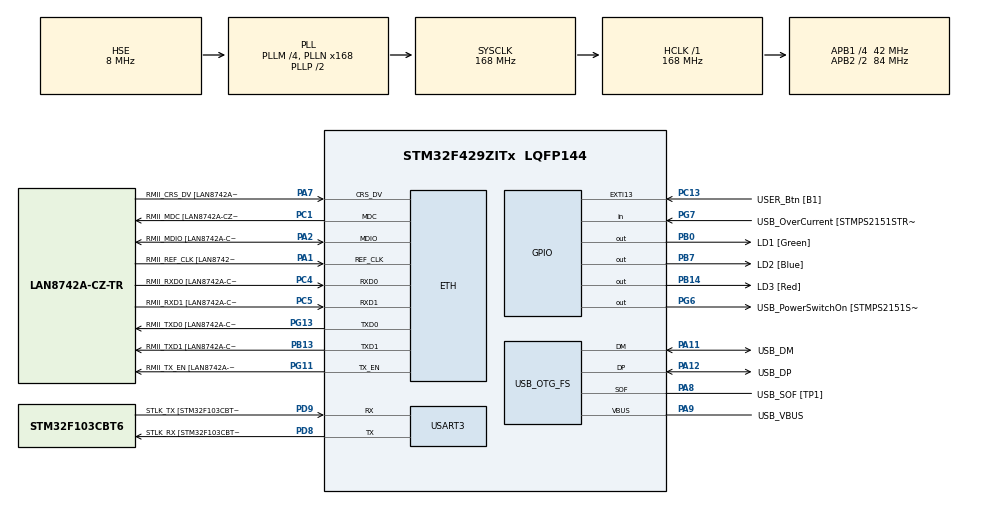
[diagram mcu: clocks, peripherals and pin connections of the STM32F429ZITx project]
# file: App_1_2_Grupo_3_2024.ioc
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ETH.MediaInterface=HAL_ETH_RMII_MODE
ETH.PHY_Name=LAN8742A_PHY_ADDRESS
ETH.PHY_Value=0
ETH.PhyAddress=0
Mcu.Family=STM32F4
Mcu.Name=STM32F429ZITx
Mcu.Package=LQFP144
NVIC.PriorityGroup=NVIC_PRIORITYGROUP_4
PA1.GPIO_Label=RMII_REF_CLK [LAN8742A-CZ-TR_REFCLK0]
PA1.Mode=RMII
PA1.Signal=ETH_REF_CLK
PA10.GPIO_Label=USB_ID
PA10.Signal=USB_OTG_FS_ID
PA11.GPIO_Label=USB_DM
PA11.Mode=Device_Only
PA11.Signal=USB_OTG_FS_DM
PA12.GPIO_Label=USB_DP
PA12.Mode=Device_Only
PA12.Signal=USB_OTG_FS_DP
PA13.GPIO_Label=TMS
PA13.Mode=Serial_Wire
PA13.Signal=SYS_JTMS-SWDIO
PA14.GPIO_Label=TCK
PA14.Mode=Serial_Wire
PA14.Signal=SYS_JTCK-SWCLK
PA2.GPIO_Label=RMII_MDIO [LAN8742A-CZ-TR_MDIO]
PA2.Mode=RMII
PA2.Signal=ETH_MDIO
PA7.GPIO_Label=RMII_CRS_DV [LAN8742A-CZ-TR_CRS_DV]
PA7.Mode=RMII
PA7.Signal=ETH_CRS_DV
PA8.GPIO_Label=USB_SOF [TP1]
PA8.Mode=Activate_SOF_FS
PA8.Signal=USB_OTG_FS_SOF
PA9.GPIO_Label=USB_VBUS
PA9.Mode=Activate_VBUS
PA9.Signal=USB_OTG_FS_VBUS
PB0.GPIO_Label=LD1 [Green]
PB0.Signal=GPIO_Output
PB13.GPIO_Label=RMII_TXD1 [LAN8742A-CZ-TR_TXD1]
PB13.Mode=RMII
PB13.Signal=ETH_TXD1
PB14.GPIO_Label=LD3 [Red]
PB14.Signal=GPIO_Output
PB7.GPIO_Label=LD2 [Blue]
PB7.Signal=GPIO_Output
PC1.GPIO_Label=RMII_MDC [LAN8742A-CZ-TR_MDC]
PC1.Mode=RMII
PC1.Signal=ETH_MDC
PC13.GPIO_Label=USER_Btn [B1]
PC13.Signal=GPXTI13
PC14/OSC32_IN.Mode=LSE-External-Oscillator
PC14/OSC32_IN.Signal=RCC_OSC32_IN
PC15/OSC32_OUT.Mode=LSE-External-Oscillator
PC15/OSC32_OUT.Signal=RCC_OSC32_OUT
PC4.GPIO_Label=RMII_RXD0 [LAN8742A-CZ-TR_RXD0]
PC4.Mode=RMII
PC4.Signal=ETH_RXD0
PC5.GPIO_Label=RMII_RXD1 [LAN8742A-CZ-TR_RXD1]
PC5.Mode=RMII
PC5.Signal=ETH_RXD1
PD8.GPIO_Label=STLK_RX [STM32F103CBT6_PA3]
PD8.Mode=Asynchronous
PD8.Signal=USART3_TX
PD9.GPIO_Label=STLK_TX [STM32F103CBT6_PA2]
PD9.Mode=Asynchronous
PD9.Signal=USART3_RX
PG11.GPIO_Label=RMII_TX_EN [LAN8742A-CZ-TR_TXEN]
PG11.Mode=RMII
PG11.Signal=ETH_TX_EN
PG13.GPIO_Label=RMII_TXD0 [LAN8742A-CZ-TR_TXD0]
PG13.Mode=RMII
PG13.Signal=ETH_TXD0
PG6.GPIO_Label=USB_PowerSwitchOn [STMPS2151STR_EN]
PG6.Signal=GPIO_Output
PG7.GPIO_Label=USB_OverCurrent [STMPS2151STR_FAULT]
PG7.Signal=GPIO_Input
PH0/OSC_IN.GPIO_Label=MCO [STM32F103CBT6_PA8]
PH0/OSC_IN.Mode=HSE-External-Clock-Source
PH0/OSC_IN.Signal=RCC_OSC_IN
PH1/OSC_OUT.Mode=HSE-External-Clock-Source
PH1/OSC_OUT.Signal=RCC_OSC_OUT
ProjectManager.HeapSize=0x200
ProjectManager.StackSize=0x400
ProjectManager.TargetToolchain=STM32CubeIDE
RCC.48MHZClocksFreq_Value=48000000
RCC.AHBFreq_Value=168000000
RCC.APB1CLKDivider=RCC_HCLK_DIV4
RCC.APB1Freq_Value=42000000
RCC.APB1TimFreq_Value=84000000
RCC.APB2CLKDivider=RCC_HCLK_DIV2
RCC.APB2Freq_Value=84000000
RCC.APB2TimCLKDivider=2
RCC.APB2TimFreq_Value=168000000
RCC.CortexFreq_Value=168000000
RCC.HCLKFreq_Value=168000000
RCC.HSE_VALUE=8000000
RCC.HSI_VALUE=16000000
RCC.PLLM=4
RCC.PLLMUL=RCC_PLL_MUL9
RCC.PLLN=168
RCC.PLLQ=7
RCC.PRESCALERUSB=RCC_USBCLKSOURCE_PLL_DIV1_5
RCC.SYSCLKFreq_VALUE=168000000
RCC.SYSCLKSource=RCC_SYSCLKSOURCE_PLLCLK
RCC.SYSCLKSourceVirtual=RCC_SYSCLKSOURCE_PLLCLK
RCC.USBFreq_Value=48000000
RCC.VCOOutputFreq_Value=336000000
USART3.VirtualMode=VM_ASYNC
USB_OTG_FS.VirtualMode=Device_Only
board=NUCLEO-F429ZI

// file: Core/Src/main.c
/* USER CODE BEGIN Header */
/**
  ******************************************************************************
  * @file           : main.c
  * @brief          : Main program body
  ******************************************************************************
  * @attention
  *
  * Copyright (c) 2024 STMicroelectronics.
  * All rights reserved.
  *
  * This software is licensed under terms that can be found in the LICENSE file
  * in the root directory of this software component.
  * If no LICENSE file comes with this software, it is provided AS-IS.
  *
  ******************************************************************************
  */
/* USER CODE END Header */
#include "main.h"
#include "string.h"

/* USER CODE BEGIN Includes */

#include "API_GPIO.h"

/* USER CODE END Includes */

ETH_TxPacketConfig TxConfig;
ETH_DMADescTypeDef  DMARxDscrTab[ETH_RX_DESC_CNT]; /* Ethernet Rx DMA Descriptors */
ETH_DMADescTypeDef  DMATxDscrTab[ETH_TX_DESC_CNT]; /* Ethernet Tx DMA Descriptors */

ETH_HandleTypeDef heth;

UART_HandleTypeDef huart3;

PCD_HandleTypeDef hpcd_USB_OTG_FS;

void SystemClock_Config(void);
//static void MX_GPIO_Init(void);
static void MX_ETH_Init(void);
static void MX_USART3_UART_Init(void);
static void MX_USB_OTG_FS_PCD_Init(void);

int main(void)
{

  /* MCU Configuration--------------------------------------------------------*/

  /* Reset of all peripherals, Initializes the Flash interface and the Systick. */
  HAL_Init();

  /* Configure the system clock */
  SystemClock_Config();

  /* Initialize all configured peripherals */
  MX_GPIO_Init();
  MX_ETH_Init();
  MX_USART3_UART_Init();
  MX_USB_OTG_FS_PCD_Init();

  /* USER CODE BEGIN 2 */

  uint16_t vector_Pin_LEDs[CANTIDAD_LEDS] = {LD1_Pin, LD2_Pin, LD3_Pin};
  uint8_t secuencia_actual = 1;
  uint8_t led_actual = 0;
  uint8_t estado_inicial = 0;

  /* USER CODE END 2 */

  /* Infinite loop */
  /* USER CODE BEGIN WHILE */
  while (1)
  {
	  estado_inicial = led_actual;
	  switch(secuencia_actual){
	  case 1:
		  secuencia_actual = secuencia1(vector_Pin_LEDs, &led_actual, estado_inicial);
		  break;
	  case 2:
		  secuencia_actual = secuencia2(vector_Pin_LEDs, &led_actual, estado_inicial);
		  break;
	  default:
		  for(int j=0;j<CANTIDAD_LEDS;j++){
			  writeLedOff_GPIO(vector_Pin_LEDs[j]);
		  }
		  break;
	  }

    /* USER CODE END WHILE */

  }
}

void SystemClock_Config(void)
{
  RCC_OscInitTypeDef RCC_OscInitStruct = {0};
  RCC_ClkInitTypeDef RCC_ClkInitStruct = {0};

  /** Configure the main internal regulator output voltage
  */
  __HAL_RCC_PWR_CLK_ENABLE();
  __HAL_PWR_VOLTAGESCALING_CONFIG(PWR_REGULATOR_VOLTAGE_SCALE1);

  /** Initializes the RCC Oscillators according to the specified parameters
  * in the RCC_OscInitTypeDef structure.
  */
  RCC_OscInitStruct.OscillatorType = RCC_OSCILLATORTYPE_HSE;
  RCC_OscInitStruct.HSEState = RCC_HSE_BYPASS;
  RCC_OscInitStruct.PLL.PLLState = RCC_PLL_ON;
  RCC_OscInitStruct.PLL.PLLSource = RCC_PLLSOURCE_HSE;
  RCC_OscInitStruct.PLL.PLLM = 4;
  RCC_OscInitStruct.PLL.PLLN = 168;
  RCC_OscInitStruct.PLL.PLLP = RCC_PLLP_DIV2;
  RCC_OscInitStruct.PLL.PLLQ = 7;
  if (HAL_RCC_OscConfig(&RCC_OscInitStruct) != HAL_OK)
  {
    Error_Handler();
  }

  /** Initializes the CPU, AHB and APB buses clocks
  */
  RCC_ClkInitStruct.ClockType = RCC_CLOCKTYPE_HCLK|RCC_CLOCKTYPE_SYSCLK
                              |RCC_CLOCKTYPE_PCLK1|RCC_CLOCKTYPE_PCLK2;
  RCC_ClkInitStruct.SYSCLKSource = RCC_SYSCLKSOURCE_PLLCLK;
  RCC_ClkInitStruct.AHBCLKDivider = RCC_SYSCLK_DIV1;
  RCC_ClkInitStruct.APB1CLKDivider = RCC_HCLK_DIV4;
  RCC_ClkInitStruct.APB2CLKDivider = RCC_HCLK_DIV2;

  if (HAL_RCC_ClockConfig(&RCC_ClkInitStruct, FLASH_LATENCY_5) != HAL_OK)
  {
    Error_Handler();
  }
}

static void MX_ETH_Init(void)
{

   static uint8_t MACAddr[6];

  heth.Instance = ETH;
  MACAddr[0] = 0x00;
  MACAddr[1] = 0x80;
  MACAddr[2] = 0xE1;
  MACAddr[3] = 0x00;
  MACAddr[4] = 0x00;
  MACAddr[5] = 0x00;
  heth.Init.MACAddr = &MACAddr[0];
  heth.Init.MediaInterface = HAL_ETH_RMII_MODE;
  heth.Init.TxDesc = DMATxDscrTab;
  heth.Init.RxDesc = DMARxDscrTab;
  heth.Init.RxBuffLen = 1524;

  if (HAL_ETH_Init(&heth) != HAL_OK)
  {
    Error_Handler();
  }

  memset(&TxConfig, 0 , sizeof(ETH_TxPacketConfig));
  TxConfig.Attributes = ETH_TX_PACKETS_FEATURES_CSUM | ETH_TX_PACKETS_FEATURES_CRCPAD;
  TxConfig.ChecksumCtrl = ETH_CHECKSUM_IPHDR_PAYLOAD_INSERT_PHDR_CALC;
  TxConfig.CRCPadCtrl = ETH_CRC_PAD_INSERT;

}

static void MX_USART3_UART_Init(void)
{

  huart3.Instance = USART3;
  huart3.Init.BaudRate = 115200;
  huart3.Init.WordLength = UART_WORDLENGTH_8B;
  huart3.Init.StopBits = UART_STOPBITS_1;
  huart3.Init.Parity = UART_PARITY_NONE;
  huart3.Init.Mode = UART_MODE_TX_RX;
  huart3.Init.HwFlowCtl = UART_HWCONTROL_NONE;
  huart3.Init.OverSampling = UART_OVERSAMPLING_16;
  if (HAL_UART_Init(&huart3) != HAL_OK)
  {
    Error_Handler();
  }

}

static void MX_USB_OTG_FS_PCD_Init(void)
{

  hpcd_USB_OTG_FS.Instance = USB_OTG_FS;
  hpcd_USB_OTG_FS.Init.dev_endpoints = 4;
  hpcd_USB_OTG_FS.Init.speed = PCD_SPEED_FULL;
  hpcd_USB_OTG_FS.Init.dma_enable = DISABLE;
  hpcd_USB_OTG_FS.Init.phy_itface = PCD_PHY_EMBEDDED;
  hpcd_USB_OTG_FS.Init.Sof_enable = ENABLE;
  hpcd_USB_OTG_FS.Init.low_power_enable = DISABLE;
  hpcd_USB_OTG_FS.Init.lpm_enable = DISABLE;
  hpcd_USB_OTG_FS.Init.vbus_sensing_enable = ENABLE;
  hpcd_USB_OTG_FS.Init.use_dedicated_ep1 = DISABLE;
  if (HAL_PCD_Init(&hpcd_USB_OTG_FS) != HAL_OK)
  {
    Error_Handler();
  }

}

/* USER CODE BEGIN 4 */

uint8_t secuencia1(uint16_t* vector_Pin_LEDs,uint8_t* ptr_led_actual,uint8_t estado_inicial)
{

	/*
	 * Para poder leer el un cambio en el estado del boton (sin utilizar interrupciones),
	 * lo que se hace es hacer la tecnica de Polling. Esto consiste en verificar continuamente
	 * el estado del boton.
	 * Cada milisegundo se verifica si el boton se ha presionado, si es asi, se apagan todos
	 * los leds y se sale de la funcion retornando "2", esto para que al volver al main, la
	 * secuencia a ejecutarse luego sea la secuencia 2.
	 *
	 * Si el boton no es presionado continua hasta terminar el ciclo de encendido, luego de
	 * apagado, para cada led. Al final termina la funcion retornando "1", para que al volver
	 * al main, vuelva a ejecutarse la secuencia 1 y continue.
	 *
	 * */
	for(int i=0; i<CANTIDAD_LEDS;i++){
		/*TIEMPO DE ENCENDIDO*/
		for(int tick=0;tick<RETARDO_MS;tick++){
			if(readButton_GPIO()){
				while(readButton_GPIO()){}; //Antirebote por SW
				  for(int j=0;j<CANTIDAD_LEDS;j++){
					  writeLedOff_GPIO(vector_Pin_LEDs[j]);
				  }
				return 2;
			}
			writeLedOn_GPIO(vector_Pin_LEDs[(i+estado_inicial)%CANTIDAD_LEDS]);
			HAL_Delay(1);
		}
		/*TIEMPO DE APAGADO*/
		for(int tick=0;tick<RETARDO_MS;tick++){
			if(readButton_GPIO()){
				while(readButton_GPIO()){};
				  for(int j=0;j<CANTIDAD_LEDS;j++){
					  writeLedOff_GPIO(vector_Pin_LEDs[j]);
				  }
				return 2;
			}
			writeLedOff_GPIO(vector_Pin_LEDs[(i+estado_inicial)%CANTIDAD_LEDS]);
			HAL_Delay(1);
		}
		*ptr_led_actual = (i+estado_inicial-1)%CANTIDAD_LEDS;
	}
	*ptr_led_actual = estado_inicial;
	return 1;
}

uint8_t secuencia2(uint16_t* vector_Pin_LEDs,uint8_t* ptr_led_actual,uint8_t estado_inicial)
{
	for(int i=(CANTIDAD_LEDS-1);i>=0;i--){
		/*TIEMPO DE ENCENDIDO*/
		for(int tick=0;tick<RETARDO_MS;tick++){
			if(readButton_GPIO()){
				while(readButton_GPIO() == GPIO_PIN_SET){}; //Antirebote por SW
				for(int j=0;j<CANTIDAD_LEDS;j++){
					writeLedOff_GPIO(vector_Pin_LEDs[j]);
				}
				return 1;
			}
			writeLedOn_GPIO(vector_Pin_LEDs[(i+estado_inicial+1)%CANTIDAD_LEDS]);
			HAL_Delay(1);
		}
		/*TIEMPO DE APAGADO*/
		for(int tick=0;tick<RETARDO_MS;tick++){
			if(readButton_GPIO()){
				while(readButton_GPIO()){};
				for(int j=0;j<CANTIDAD_LEDS;j++){
					writeLedOff_GPIO(vector_Pin_LEDs[j]);
				}
				return 1;
			}
			writeLedOff_GPIO(vector_Pin_LEDs[(i+estado_inicial+1)%CANTIDAD_LEDS]);
			HAL_Delay(1);
		}
		*ptr_led_actual = (i+estado_inicial+1)%CANTIDAD_LEDS;
	}
	*ptr_led_actual = estado_inicial;
	return 2;
}

/* USER CODE END 4 */

void Error_Handler(void)
{
  __disable_irq();
  while (1)
  {
  }
}
